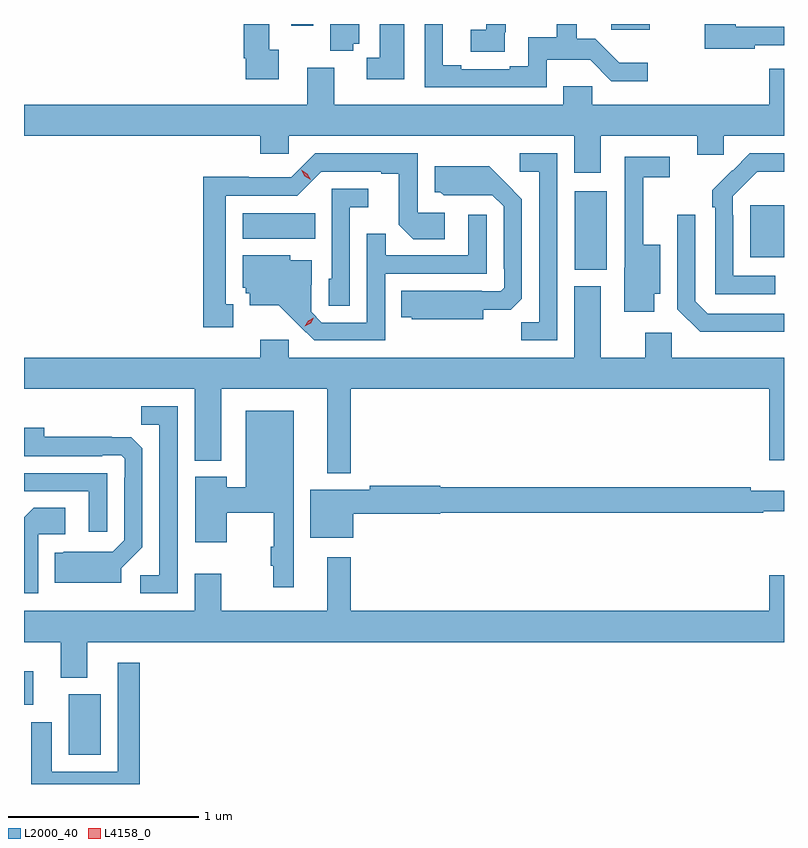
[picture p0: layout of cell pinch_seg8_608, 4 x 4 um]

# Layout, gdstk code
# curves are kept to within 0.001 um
import gdstk
lib = gdstk.Library(unit=1e-6, precision=1e-09)
def R(c, l, rs):  # rectangles x0, y0, x1, y1
    for r in rs: c.add(gdstk.rectangle(r[:2], r[2:], *l))
def P(c, l, *ps):  # polygons
    for p in ps: c.add(gdstk.Polygon(p, *l))
L2000_40 = (2000, 40)
L4158_0 = (4158, 0)

pinch_seg8_608 = lib.new_cell('pinch_seg8_608')
R(pinch_seg8_608, L2000_40, [(197.285,1085.27,197.455,1085.59), (197.05,1085.534,197.098,1085.71), (199.949,1087.823,200.116,1088.236), (200.873,1087.889,201.05,1088.164), (198.2,1087.988,198.584,1088.122), (200.141,1089.087,200.344,1089.117), (198.456,1089.108,198.573,1089.117)])
P(pinch_seg8_608, L2000_40, [(198.782,1089.014),(198.814,1089.014),(198.814,1089.117),(198.662,1089.117),(198.662,1088.977),(198.782,1088.977)],
  [(199.8,1088.93),(200.029,1088.93),(200.142,1088.817),(200.332,1088.817),(200.332,1088.914),(200.183,1088.914),(200.057,1089.04),(199.958,1089.04),(199.958,1089.117),(199.855,1089.117),(199.855,1089.047),(199.704,1089.047),(199.704,1088.894),(199.607,1088.894),(199.607,1088.88),(199.351,1088.88),(199.351,1088.9),(199.255,1088.9),(199.255,1089.117),(199.158,1089.117),(199.158,1088.784),(199.8,1088.784)],
  [(199.051,1089.117),(198.923,1089.117),(198.923,1088.94),(198.855,1088.94),(198.855,1088.825),(199.051,1088.825)],
  [(199.58,1089.073),(199.586,1089.073),(199.586,1089.117),(199.483,1089.117),(199.483,1089.086),(199.401,1089.086),(199.401,1088.971),(199.58,1088.971)],
  [(198.391,1088.982),(198.34,1088.982),(198.34,1089.117),(198.206,1089.117),(198.206,1088.938),(198.218,1088.938),(198.218,1088.826),(198.391,1088.826)],
  [(200.896,1089.006),(201.05,1089.006),(201.05,1089.102),(200.796,1089.102),(200.796,1089.115),(200.634,1089.115),(200.634,1088.986),(200.896,1088.986)],
  [(200.086,1088.528),(200.594,1088.528),(200.594,1088.43),(200.733,1088.43),(200.733,1088.528),(201.05,1088.528),(201.05,1088.881),(200.972,1088.881),(200.972,1088.692),(200.041,1088.692),(200.041,1088.79),(199.889,1088.79),(199.889,1088.692),(198.682,1088.692),(198.682,1088.887),(198.542,1088.887),(198.542,1088.692),(197.05,1088.692),(197.05,1088.528),(198.293,1088.528),(198.293,1088.435),(198.444,1088.435),(198.444,1088.528),(199.946,1088.528),(199.946,1088.334),(200.086,1088.334)],
  [(199.857,1088.436),(199.659,1088.436),(199.659,1088.34),(199.761,1088.34),(199.761,1087.547),(199.666,1087.547),(199.666,1087.452),(199.857,1087.452)],
  [(198.151,1087.641),(198.112,1087.641),(198.112,1088.214),(198.489,1088.214),(198.615,1088.34),(198.929,1088.34),(198.929,1088.328),(199.023,1088.328),(199.023,1088.06),(199.099,1087.984),(199.264,1087.984),(199.264,1088.124),(199.122,1088.124),(199.122,1088.436),(198.582,1088.436),(198.456,1088.31),(198.234,1088.31),(198.234,1088.312),(197.994,1088.312),(197.994,1087.521),(198.151,1087.521)],
  [(201.004,1087.791),(200.784,1087.791),(200.784,1088.111),(200.781,1088.111),(200.781,1088.211),(200.91,1088.34),(201.05,1088.34),(201.05,1088.436),(200.87,1088.436),(200.673,1088.241),(200.673,1088.153),(200.688,1088.153),(200.688,1087.695),(201.004,1087.695)],
  [(200.368,1087.697),(200.398,1087.697),(200.398,1087.954),(200.309,1087.954),(200.309,1088.31),(200.449,1088.31),(200.449,1088.418),(200.211,1088.418),(200.211,1087.833),(200.21,1087.833),(200.21,1087.602),(200.368,1087.602)],
  [(199.468,1087.613),(199.612,1087.613),(199.671,1087.672),(199.671,1088.194),(199.499,1088.368),(199.211,1088.368),(199.211,1088.232),(199.242,1088.232),(199.258,1088.216),(199.515,1088.217),(199.575,1088.157),(199.575,1087.828),(199.578,1087.828),(199.578,1087.728),(199.56,1087.71),(199.46,1087.71),(199.46,1087.714),(199.036,1087.714),(199.036,1087.574),(199.092,1087.574),(199.092,1087.562),(199.468,1087.562)],
  [(198.765,1088.153),(198.862,1088.153),(198.862,1088.25),(198.669,1088.25),(198.669,1087.776),(198.654,1087.776),(198.654,1087.633),(198.765,1087.633)],
  [(198.951,1087.803),(199.485,1087.803),(199.485,1088.113),(199.389,1088.113),(199.389,1087.899),(198.953,1087.899),(198.953,1088.012),(198.855,1088.012),(198.855,1087.545),(198.618,1087.545),(198.561,1087.602),(198.561,1087.744),(198.565,1087.744),(198.565,1087.873),(198.45,1087.873),(198.45,1087.9),(198.2,1087.9),(198.2,1087.728),(198.216,1087.728),(198.216,1087.701),(198.239,1087.701),(198.239,1087.637),(198.391,1087.637),(198.578,1087.452),(198.951,1087.452)],
  [(201.05,1087.593),(200.649,1087.593),(200.583,1087.659),(200.583,1088.113),(200.487,1088.113),(200.487,1087.617),(200.608,1087.496),(201.05,1087.496)],
  [(198.769,1087.196),(200.972,1087.196),(200.972,1086.822),(201.05,1086.822),(201.05,1087.36),(200.46,1087.36),(200.46,1087.492),(200.321,1087.492),(200.321,1087.36),(200.086,1087.36),(200.086,1087.738),(199.946,1087.738),(199.946,1087.36),(198.444,1087.36),(198.444,1087.456),(198.293,1087.456),(198.293,1087.36),(197.05,1087.36),(197.05,1087.196),(197.948,1087.196),(197.948,1086.818),(198.088,1086.818),(198.088,1087.196),(198.647,1087.196),(198.647,1086.752),(198.769,1086.752)],
  [(197.859,1087.104),(197.668,1087.104),(197.668,1087.009),(197.763,1087.009),(197.763,1086.216),(197.661,1086.216),(197.661,1086.12),(197.859,1086.12)],
  [(198.469,1087.081),(198.218,1087.081),(198.218,1086.68),(198.118,1086.68),(198.118,1086.733),(197.951,1086.733),(197.951,1086.39),(198.118,1086.39),(198.118,1086.544),(198.365,1086.544),(198.365,1086.366),(198.348,1086.366),(198.348,1086.265),(198.363,1086.265),(198.363,1086.153),(198.469,1086.153)],
  [(197.563,1086.252),(197.673,1086.362),(197.673,1086.884),(197.614,1086.943),(197.157,1086.944),(197.157,1086.991),(197.05,1086.991),(197.05,1086.843),(197.462,1086.843),(197.462,1086.846),(197.562,1086.846),(197.58,1086.828),(197.58,1086.728),(197.577,1086.728),(197.577,1086.399),(197.517,1086.339),(197.26,1086.34),(197.254,1086.334),(197.213,1086.334),(197.213,1086.176),(197.563,1086.176)],
  [(197.487,1086.753),(197.05,1086.753),(197.05,1086.657),(197.391,1086.657),(197.391,1086.444),(197.487,1086.444)],
  [(198.784,1086.539),(199.242,1086.539),(199.242,1086.544),(200.942,1086.544),(200.942,1086.552),(201.05,1086.552),(201.05,1086.661),(200.876,1086.661),(200.876,1086.68),(199.242,1086.68),(199.242,1086.686),(198.87,1086.686),(198.87,1086.667),(198.557,1086.667),(198.557,1086.413),(198.784,1086.413)],
  [(197.124,1086.432),(197.266,1086.432),(197.266,1086.572),(197.101,1086.572),(197.05,1086.521),(197.05,1086.12),(197.124,1086.12)],
  [(197.383,1085.864),(201.05,1085.864),(201.05,1086.217),(200.972,1086.217),(200.972,1086.028),(198.769,1086.028),(198.769,1086.31),(198.647,1086.31),(198.647,1086.028),(198.088,1086.028),(198.088,1086.223),(197.948,1086.223),(197.948,1086.028),(197.05,1086.028),(197.05,1085.864),(197.243,1085.864),(197.243,1085.675),(197.383,1085.675)],
  [(197.66,1085.755),(197.544,1085.755),(197.544,1085.181),(197.197,1085.181),(197.197,1085.443),(197.087,1085.443),(197.087,1085.117),(197.66,1085.117)])
P(pinch_seg8_608, L4158_0, [(198.528,1087.525),(198.528,1087.526),(198.545,1087.556),(198.576,1087.571),(198.576,1087.571),(198.576,1087.571),(198.559,1087.541),(198.528,1087.525)],
  [(198.559,1088.297),(198.527,1088.316),(198.509,1088.349),(198.509,1088.349),(198.509,1088.349),(198.541,1088.33),(198.559,1088.298),(198.559,1088.297)])

lib.write_gds('pinch_seg8_608.gds')
